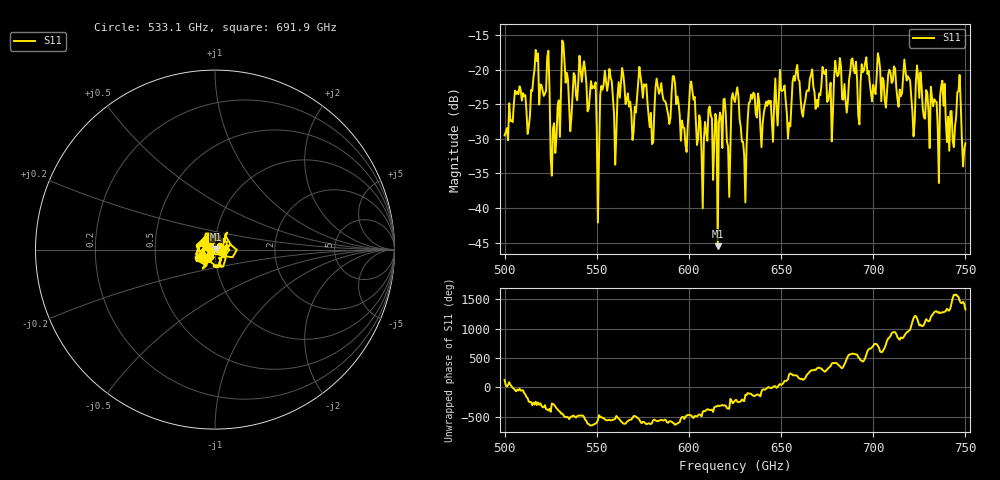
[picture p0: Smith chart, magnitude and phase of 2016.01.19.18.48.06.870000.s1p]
!Created with skrf (http://scikit-rf.org).
# GHz S RI R 50.0
!freq ReS11 ImS11
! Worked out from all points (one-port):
!   401 points, 500 GHz to 750 GHz, reference 50 ohm
!   lowest |S11| = -45.5 dB at 615.6 GHz (marker M1), VSWR 1.01, Z = 50.4 + j0.397 ohm
!   |S11| at or under -10 dB: start of sweep to end of sweep
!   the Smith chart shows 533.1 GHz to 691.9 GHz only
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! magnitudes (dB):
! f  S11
! 500 GHz  -29.5
! 506.9 GHz  -23.1
! 513.1 GHz  -28.2
! 516.9 GHz  -17.1
! 523.1 GHz  -18.1
! 526.2 GHz  -28.4
! 531.2 GHz  -15.7
! 548.1 GHz  -22.4
! 551.2 GHz  -31.9
! 553.8 GHz  -22.1
! 560 GHz  -33.7
! 562.5 GHz  -24.0
! 570 GHz  -29.0
! 574.4 GHz  -22.1
! 579.4 GHz  -26.2
! 583.1 GHz  -22.4
! 593.8 GHz  -23.9
! 615.6 GHz  -45.5
! 621.9 GHz  -38.4
! 625 GHz  -24.7
! 630 GHz  -32.4
! 634.4 GHz  -24.2
! 656.2 GHz  -21.8
! 687.5 GHz  -20.3
! 718.8 GHz  -20.9
! 742.5 GHz  -26.0
! 746.2 GHz  -23.1
! 750 GHz  -30.6
